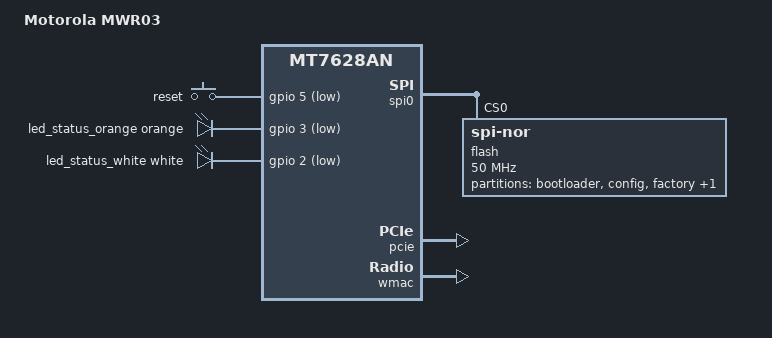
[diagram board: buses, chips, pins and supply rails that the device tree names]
// SPDX-License-Identifier: GPL-2.0-or-later OR MIT

#include "mt7628an.dtsi"

#include <dt-bindings/gpio/gpio.h>
#include <dt-bindings/input/input.h>
#include <dt-bindings/leds/common.h>

/ {
	model = "Motorola MWR03";
	compatible = "motorola,mwr03", "mediatek,mt7628an-soc";

	aliases {
		led-boot = &led_status_orange;
		led-failsafe = &led_status_orange;
		led-running = &led_status_white;
		led-upgrade = &led_status_orange;
	};

	keys {
		compatible = "gpio-keys";

		reset {
			label = "reset";
			gpios = <&gpio 5 GPIO_ACTIVE_LOW>;
			linux,code = <KEY_RESTART>;
		};
	};

	leds {
		compatible = "gpio-leds";

		led_status_orange: status_orange {
			function = LED_FUNCTION_STATUS;
			color = <LED_COLOR_ID_ORANGE>;
			gpios = <&gpio 3 GPIO_ACTIVE_LOW>;
		};

		led_status_white: status_white {
			function = LED_FUNCTION_STATUS;
			color = <LED_COLOR_ID_WHITE>;
			gpios = <&gpio 2 GPIO_ACTIVE_LOW>;
		};
	};
};

&spi0 {
	status = "okay";

	flash@0 {
		compatible = "jedec,spi-nor";
		reg = <0>;
		spi-max-frequency = <50000000>;
		m25p,fast-read;

		partitions {
			compatible = "fixed-partitions";
			#address-cells = <1>;
			#size-cells = <1>;

			partition@0 {
				label = "bootloader";
				reg = <0x0 0x30000>;
				read-only;
			};

			partition@30000 {
				label = "config";
				reg = <0x30000 0x10000>;
				read-only;
			};

			partition@40000 {
				label = "factory";
				reg = <0x40000 0x10000>;
				read-only;

				nvmem-layout {
					compatible = "fixed-layout";
					#address-cells = <1>;
					#size-cells = <1>;

					eeprom_factory_0: eeprom@0 {
						reg = <0x0 0x400>;
					};

					eeprom_factory_8000: eeprom@8000 {
						reg = <0x8000 0x200>;
					};

					macaddr_factory_4: macaddr@4 {
						compatible = "mac-base";
						reg = <0x4 0x6>;
						#nvmem-cell-cells = <1>;
					};
				};
			};

			partition@50000 {
				compatible = "denx,uimage";
				label = "firmware";
				reg = <0x50000 0x7b0000>;
			};
		};
	};
};

&state_default {
	gpio {
		groups = "i2c", "i2s";
		function = "gpio";
	};
};

&usbphy {
	status = "disabled";
};

&ehci {
	status = "disabled";
};

&ohci {
	status = "disabled";
};

&ethernet {
	nvmem-cells = <&macaddr_factory_4 (-1)>;
	nvmem-cell-names = "mac-address";
};

&esw {
	mediatek,portmap = <0x3e>;
	mediatek,portdisable = <0x30>;
};

&pcie {
	status = "okay";
};

&pcie0 {
	wifi@0,0 {
		reg = <0x0000 0 0 0 0>;
		nvmem-cells = <&eeprom_factory_8000>;
		nvmem-cell-names = "eeprom";
		ieee80211-freq-limit = <5000000 6000000>;
	};
};

&wmac {
	status = "okay";

	nvmem-cells = <&eeprom_factory_0>;
	nvmem-cell-names = "eeprom";
};
